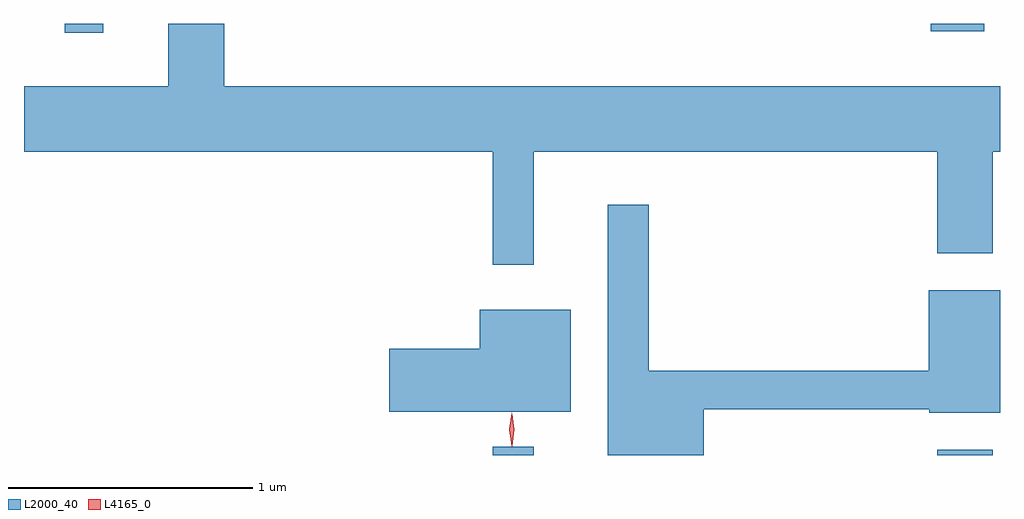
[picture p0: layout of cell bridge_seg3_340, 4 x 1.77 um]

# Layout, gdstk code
import gdstk
lib = gdstk.Library(unit=1e-6, precision=1e-09)
def R(c, l, rs):  # rectangles x0, y0, x1, y1
    for r in rs: c.add(gdstk.rectangle(r[:2], r[2:], *l))
def P(c, l, *ps):  # polygons
    for p in ps: c.add(gdstk.Polygon(p, *l))
L2000_40 = (2000, 40)
L4165_0 = (4165, 0)

bridge_seg3_340 = lib.new_cell('bridge_seg3_340')
R(bridge_seg3_340, L2000_40, [(565.001,1115.892,565.169,1115.928), (566.821,1115.892,567.049,1115.914), (563.246,1117.623,563.404,1117.661), (566.796,1117.631,567.014,1117.661)])
P(bridge_seg3_340, L2000_40, [(565.169,1117.136),(566.821,1117.136),(566.821,1116.721),(567.049,1116.721),(567.049,1117.136),(567.079,1117.136),(567.079,1117.404),(563.899,1117.404),(563.899,1117.661),(563.671,1117.661),(563.671,1117.404),(563.079,1117.404),(563.079,1117.136),(565.001,1117.136),(565.001,1116.673),(565.169,1116.673)],
  [(565.864,1116.081),(566.79,1116.081),(566.79,1116.066),(567.079,1116.066),(567.079,1116.569),(566.786,1116.569),(566.786,1116.239),(565.639,1116.239),(565.639,1116.918),(565.471,1116.918),(565.471,1115.892),(565.864,1115.892)],
  [(565.319,1116.489),(564.946,1116.489),(564.946,1116.329),(564.576,1116.329),(564.576,1116.071),(565.319,1116.071)])
P(bridge_seg3_340, L4165_0, [(565.078,1115.93),(565.068,1115.998),(565.077,1116.065),(565.078,1116.066),(565.078,1116.065),(565.088,1115.998),(565.079,1115.93),(565.079,1115.93)],
  [(565.079,1115.933),(565.078,1115.934),(565.068,1115.996),(565.078,1116.06),(565.078,1116.06),(565.079,1116.06),(565.088,1115.996),(565.079,1115.934)])

lib.write_gds('bridge_seg3_340.gds')
